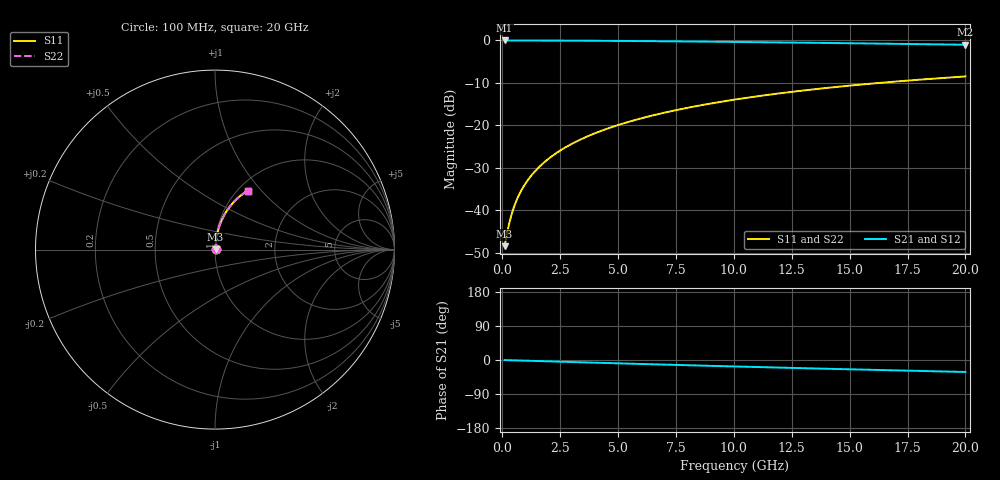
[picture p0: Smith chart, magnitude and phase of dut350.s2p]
! Touchstone file exported from HFSS 2024.1.0
!  File:  C:/UserFiles/LocalFiles/RDL_TSV_Batchsim/temp_RDL_bottom_350_1779612319.aedt
!  Generated:  04:48:10 PM May 24, 2026
!  Design:  RDL_bottom
!  Project:  temp_RDL_bottom_350_1779612319
!  Setup:  Setup1
!  Solution:  Sweep
! Variables:
!  dtsv = 10.80580581um
!  hbump = 3um
!  htsv = 67.07um
!  ldown = 380.74um
!  lrdl = 100um
!  p = 40
!  p1 = 49.25um
!  rhole = 1um
!  t = 450um
!  tdown = 3.36um
!  trdl = 3.915915916um
!  wdown = 13.29um
!  wrdl = 20um
# GHz S MA R 50.000000
! Terminal data exported
! Port[1] = RDL1_T1
! Port[2] = RDL1_T2
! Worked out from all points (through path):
!   200 points, 100 MHz to 20 GHz, reference 50 ohm
!   highest |S21| = -0.03 dB at 100 MHz (marker M1); lowest = -1.0 dB at 20 GHz (marker M2)
!   group delay of S21, straight-line fit = 4.38 ps
!   lowest |S11| = -48.5 dB at 100 MHz (marker M3), VSWR 1.01, Z = 50.3 + j0.21 ohm
!   |S11| at or under -10 dB: start of sweep to 16.33 GHz
!   |S22| runs from -48.5 to -8.5 dB; largest |S21 - S12| = 4.2e-15
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0.1  0.003779 33.6  0.9969 -0.2  0.9969 -0.2  0.003779 33.6
! Gamma 0 0 0 0
! Port Impedance 50 0 50 0
0.2  0.005257 52.4  0.9968 -0.4  0.9968 -0.4  0.005257 52.4
0.3  0.007036 62.2  0.9967 -0.6  0.9967 -0.6  0.007036 62.2
0.4  0.008918 67.7  0.9966 -0.7  0.9966 -0.7  0.008918 67.7
0.5  0.01084 71.3  0.9965 -0.9  0.9965 -0.9  0.01084 71.3
0.6  0.01278 73.7  0.9964 -1.1  0.9964 -1.1  0.01278 73.7
0.8  0.01668 76.9  0.9962 -1.5  0.9962 -1.5  0.01668 76.9
1.1  0.02258 79.5  0.9958 -2.0  0.9958 -2.0  0.02258 79.5
1.5  0.0305 81.3  0.9953 -2.7  0.9953 -2.7  0.0305 81.3
1.8  0.03647 82.0  0.9948 -3.2  0.9948 -3.2  0.03647 82.0
2.1  0.04245 82.4  0.9942 -3.8  0.9942 -3.8  0.04245 82.4
2.7  0.05445 82.6  0.9928 -4.8  0.9928 -4.8  0.05445 82.6
3.5  0.0705 82.4  0.9906 -6.2  0.9906 -6.2  0.0705 82.4
4.2  0.08457 82.0  0.9882 -7.5  0.9882 -7.5  0.08457 82.0
5  0.1007 81.2  0.985 -8.8  0.985 -8.8  0.1007 81.2
5.9  0.1188 80.3  0.981 -10.4  0.981 -10.4  0.1188 80.3
6.8  0.1368 79.2  0.9766 -11.9  0.9766 -11.9  0.1368 79.2
8.3  0.1667 77.3  0.9685 -14.3  0.9685 -14.3  0.1667 77.3
10.1  0.202 74.8  0.9578 -17.2  0.9578 -17.2  0.202 74.8
13.4  0.2643 70.1  0.9361 -22.2  0.9361 -22.2  0.2643 70.1
16.7  0.3225 65.5  0.9126 -27.0  0.9126 -27.0  0.3225 65.5
20  0.3759 61.0  0.8879 -31.6  0.8879 -31.6  0.3759 61.0
